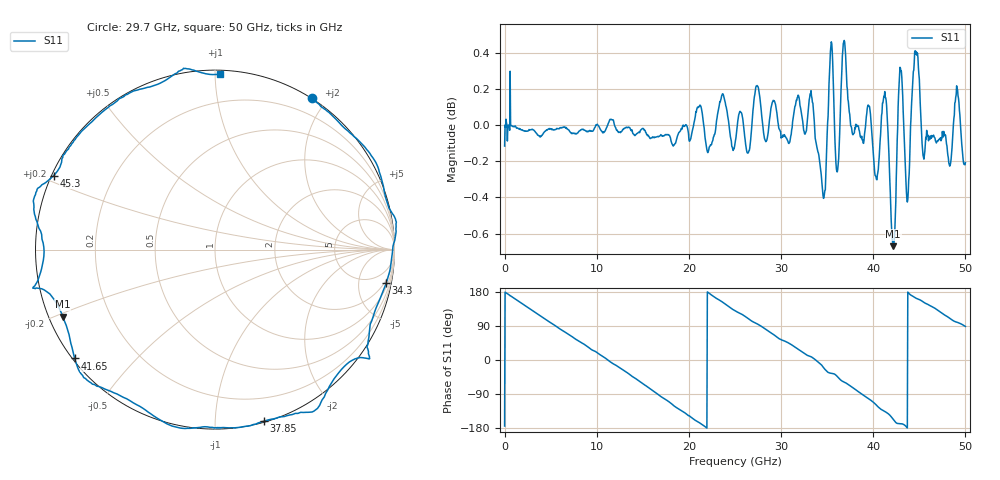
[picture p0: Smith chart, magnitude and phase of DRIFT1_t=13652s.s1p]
!Created with skrf (http://scikit-rf.org).
# Hz S RI R 50.0
!freq ReS11 ImS11
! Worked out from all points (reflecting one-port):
!   1001 points, 300 kHz to 50 GHz, reference 50 ohm
!   lowest |S11| = -0.7 dB at 42.15 GHz (marker M1), VSWR 25.98, Z = 2.01 - j10.5 ohm
!   phase of S11 starts at -174 deg and turns -817 deg over the sweep
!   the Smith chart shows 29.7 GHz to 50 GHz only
!   S11 on the Smith chart (normalised r, x): 29.7 GHz: -0.00, +1.82; 34.3 GHz: 2, -10; 37.85 GHz: 0.01, -1.32; 41.65 GHz: 0.01, -0.34; 45.3 GHz: 0.01, +0.22; 50 GHz: 0.02, +1.03
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300000  -0.9818 -0.0981
1.500291e9  -0.9057 0.4185
3.25028e9  -0.5915 0.8016
6.250262e9  0.2025 0.9777
9.500243e9  0.8927 0.4418
1.250022e10  0.9319 -0.3501
1.580021e10  0.2363 -0.9629
1.74002e10  -0.2244 -0.968
1.875019e10  -0.5993 -0.7917
2.150017e10  -0.9935 -0.1498
2.350016e10  -0.9227 0.4278
2.500015e10  -0.6335 0.7588
2.740014e10  -0.0942 1.021
2.970012e10  0.5383 0.8433
3.125011e10  0.7872 0.6201
3.31001e10  1.002 0.177
3.430009e10  0.954 -0.1846
3.520009e10  0.8551 -0.5678
3.750008e10  0.3729 -0.9315
3.785007e10  0.2706 -0.9568
3.960006e10  -0.2388 -0.9832
4.165005e10  -0.7816 -0.6065
4.215005e10  -0.8475 -0.3729
4.285004e10  -1.009 -0.2141
4.375004e10  -0.9536 0.0131
4.530003e10  -0.8985 0.4119
4.770001e10  -0.4889 0.8646
5e10  0.0252 0.9761
